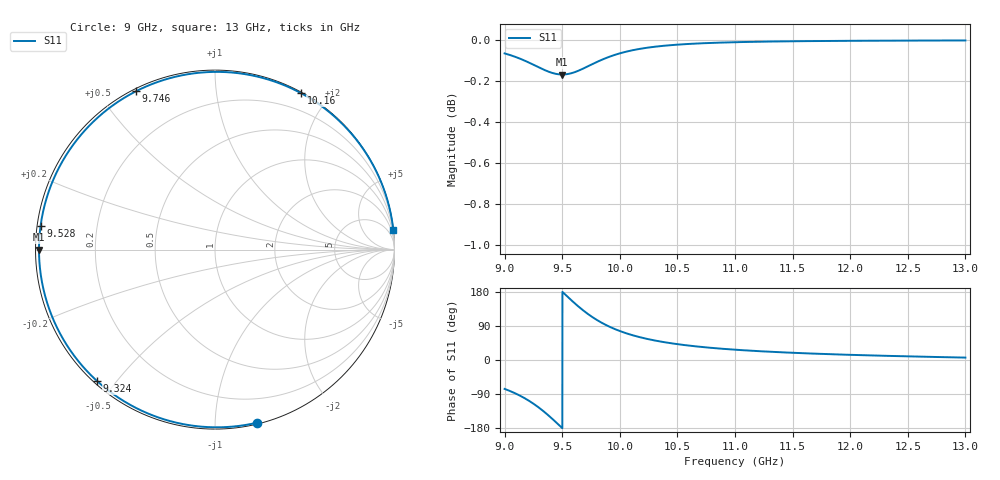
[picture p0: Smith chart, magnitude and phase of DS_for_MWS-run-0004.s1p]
! TOUCHSTONE file generated by CST DESIGN STUDIO
! Date and time: Tue Feb  4 15:55:08 2025
! Project name: C:\Work\MatlabApps\UnitCellOptimizationMatlab\CST\unitcell.cst
! Tree item: Tasks\Sweep1\SPara1\S-Parameters
! Header version: 2024
! Port assignment regex: !\s*Touchstone port\s*([0-9]+)\s*=\s*(CST MWS port|CST DES external port|CST DES block port)\s*(.+)\s* \(\"(.*)\"\)(\s*mode\s*([0-9]+))?.*
! Touchstone port assignment:
! Touchstone port 1 = CST DES external port 1 ("")
# GHz S MA R 50
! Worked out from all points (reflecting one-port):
!   4001 points, 9 GHz to 13 GHz, reference 50 ohm
!   lowest |S11| = -0.2 dB at 9.501 GHz (marker M1), VSWR 102.58, Z = 0.487 - j0.00661 ohm
!   phase of S11 starts at -76 deg and turns -277 deg over the sweep
!   S11 on the Smith chart (normalised r, x): 9 GHz: 0.01, -1.27; 9.324 GHz: 0.01, -0.45; 9.528 GHz: 0.01, +0.07; 9.746 GHz: 0.01, +0.62; 10.16 GHz: 0.01, +1.69; 13 GHz: 0, +18
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9  0.9923 -76.3
9.085  0.9906 -87.0
9.186  0.988 -102.9
9.258  0.9858 -116.9
9.324  0.9838 -131.9
9.371  0.9825 -143.7
9.42  0.9814 -156.9
9.461  0.9809 -168.5
9.5  0.9807 -179.7
9.501  0.9807 -180.0
9.528  0.9808 172.2
9.582  0.9814 156.9
9.642  0.9828 140.9
9.693  0.9843 128.3
9.746  0.9859 116.5
9.798  0.9875 106.2
9.856  0.9891 96.1
9.927  0.9909 85.6
10  0.9924 76.5
10.16  0.9947 61.3
10.315  0.9961 50.8
10.5  0.9972 41.8
10.722  0.998 34.1
11  0.9986 27.2
11.5  0.9991 19.0
12  0.9994 13.6
12.5  0.9995 9.6
13  0.9996 6.4
